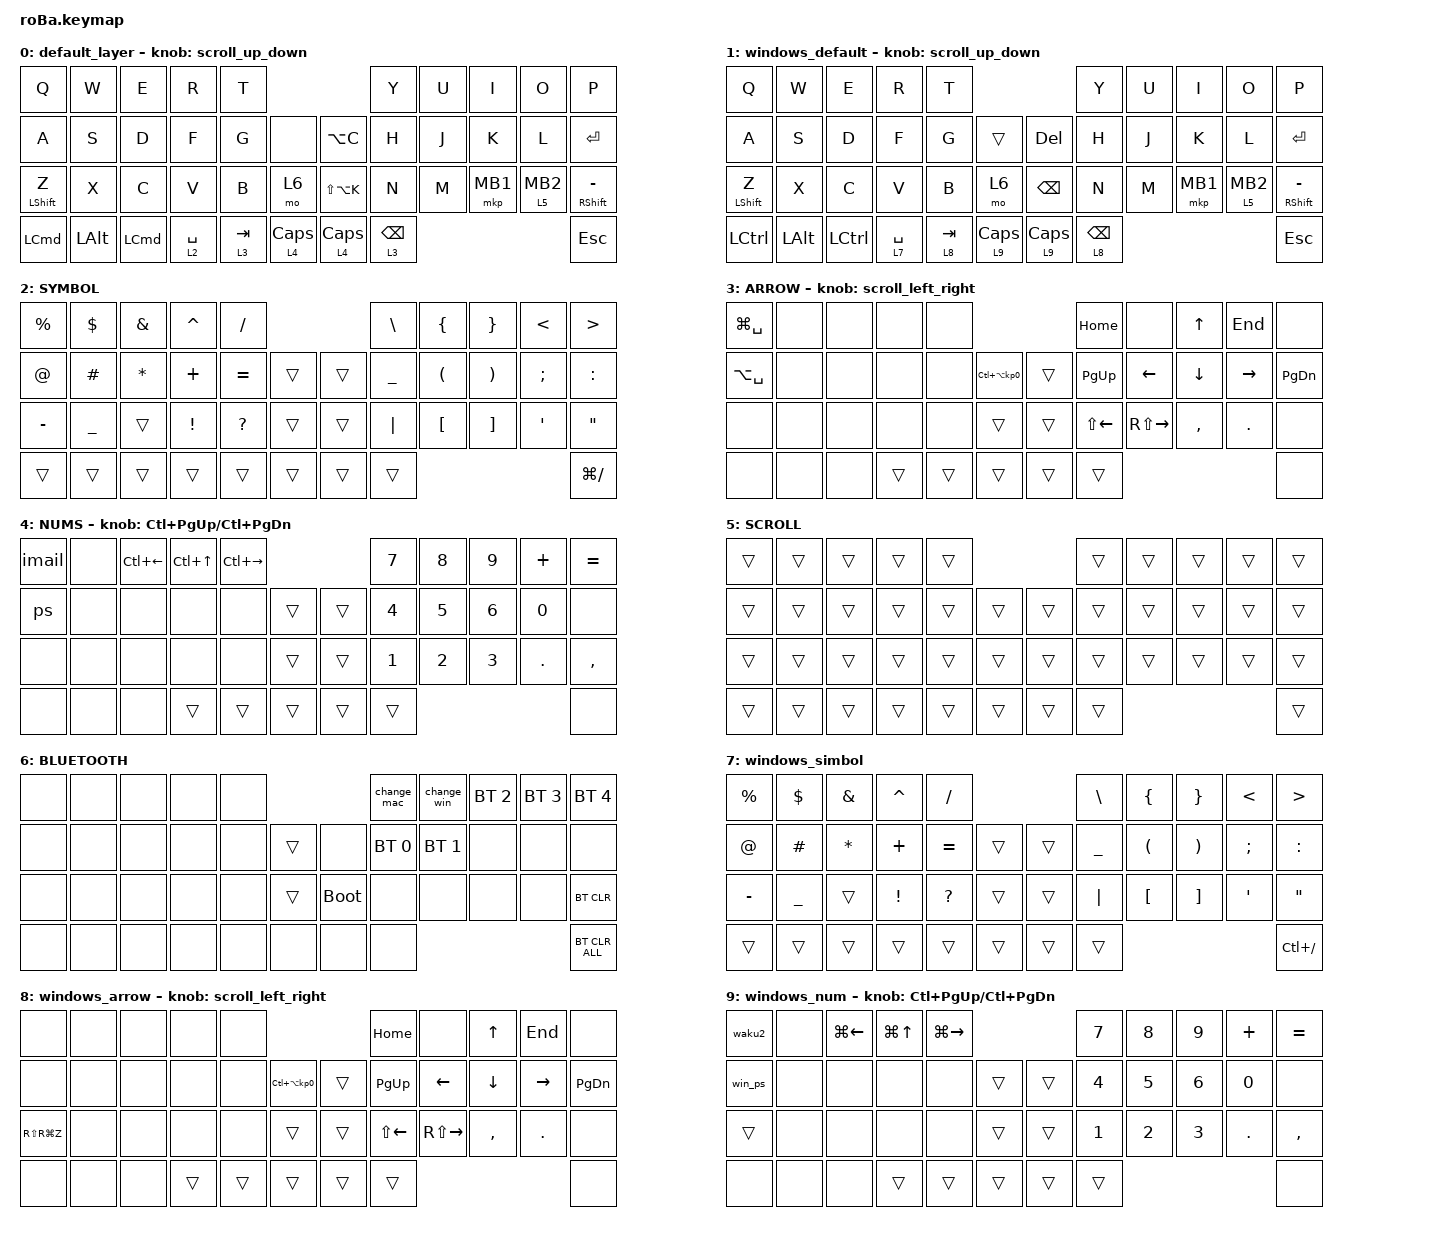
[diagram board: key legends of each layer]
#include <behaviors.dtsi>
#include <dt-bindings/zmk/bt.h>
#include <dt-bindings/zmk/keys.h>
#include <dt-bindings/zmk/pointing.h>

#define ZMK_POINTING_DEFAULT_SCRL_VAL 100
#define NUM 4
#define SCROLL 5

&mt {
    flavor = "balanced";
    quick-tap-ms = <0>;
};

/ {
    combos {
        compatible = "zmk,combos";

        tab {
            bindings = <&kp TAB>;
            key-positions = <11 12>;
        };

        shift_tab {
            bindings = <&kp LS(TAB)>;
            key-positions = <12 13>;
        };

        muhennkann {
            bindings = <&to_layer_0 INT_MUHENKAN>;
            key-positions = <11 10>;
        };

        double_quotation {
            bindings = <&kp DOUBLE_QUOTES>;
            key-positions = <20 21>;
        };

        eq {
            bindings = <&kp EQUAL>;
            key-positions = <24 25>;
        };
    };

    macros {
        to_layer_0: to_layer_0 {
            compatible = "zmk,behavior-macro-one-param";
            #binding-cells = <1>;
            bindings = <&to 0 &macro_param_1to1 &kp MACRO_PLACEHOLDER>;
            label = "TO_LAYER_0";
        };

        imail: imail {
            compatible = "zmk,behavior-macro";
            #binding-cells = <0>;
            bindings = <&none &kp I &kp N4 &kp M &kp O &kp AT &kp I &kp C &kp L &kp O &kp U &kp D &kp DOT &kp C &kp O &kp M>;
            label = "IMAIL";
        };

        ps: ps {
            compatible = "zmk,behavior-macro";
            #binding-cells = <0>;
            bindings = <&none &kp LS(I) &kp N4 &kp P &kp A &kp S &kp O &kp N2 &kp N9 &kp N9 &kp N1>;
            label = "PS";
        };

        waku2: waku2 {
            compatible = "zmk,behavior-macro";
            #binding-cells = <0>;
            bindings = <&none &kp S &kp H &kp I &kp N &kp Y &kp A &kp UNDER &kp I &kp S &kp H &kp I &kp Z &kp A &kp K &kp I &kp AT &kp W &kp A &kp K &kp U &kp MINUS &kp N2 &kp DOT &kp C &kp O &kp M>;
            label = "WAKU2";
        };

        win_ps: win_ps {
            compatible = "zmk,behavior-macro";
            #binding-cells = <0>;
            bindings = <&none &kp N9 &kp N0 &kp MINUS &kp LS(U) &kp LS(I) &kp LS(O) &kp LS(U) &kp LS(I) &kp LS(O)>;
            label = "WIN_PS";
        };

        change_mac: change_mac {
            compatible = "zmk,behavior-macro";
            #binding-cells = <0>;
            bindings = <&bt BT_SEL 0 &to 0>;
            label = "CHANGE_MAC";
        };

        change_win: change_win {
            compatible = "zmk,behavior-macro";
            #binding-cells = <0>;
            bindings = <&bt BT_SEL 1 &to 1>;
            label = "CHANGE_WIN";
        };
    };

    behaviors {
        scroll_up_down: behavior_sensor_rotate_mouse_wheel_up_down {
            compatible = "zmk,behavior-sensor-rotate";
            #sensor-binding-cells = <0>;
            bindings = <&msc SCRL_UP>, <&msc SCRL_DOWN>;

            tap-ms = <20>;
        };

        scroll_left_right: behavior_sensor_rotate_mouse_wheel_left_right {
            compatible = "zmk,behavior-sensor-rotate";
            #sensor-binding-cells = <0>;
            bindings = <&msc SCRL_LEFT>, <&msc SCRL_RIGHT>;

            tap-ms = <20>;
        };

        lt_to_layer_0: lt_to_layer_0 {
            compatible = "zmk,behavior-hold-tap";
            label = "LAYER_TAP_TO_0";
            bindings = <&mo>, <&to_layer_0>;

            #binding-cells = <2>;
            tapping-term-ms = <200>;
        };

        layer_mouse: layer_mouse {
            compatible = "zmk,behavior-hold-tap";
            label = "LAYER_MOUSE";
            bindings = <&mo>, <&mkp>;

            #binding-cells = <2>;
            tapping-term-ms = <200>;
        };
    };

    keymap {
        compatible = "zmk,keymap";

        default_layer {
            bindings = <
&kp Q             &kp W         &kp E             &kp R        &kp T                                     &kp Y            &kp U  &kp I     &kp O               &kp P
&kp A             &kp S         &kp D             &kp F        &kp G      &none           &kp LA(C)      &kp H            &kp J  &kp K     &kp L               &kp ENTER
&mt LEFT_SHIFT Z  &kp X         &kp C             &kp V        &kp B      &mo 6           &kp LS(LA(K))  &kp N            &kp M  &mkp MB1  &layer_mouse 5 MB2  &mt RIGHT_SHIFT MINUS
&kp LEFT_COMMAND  &kp LEFT_ALT  &kp LEFT_COMMAND  &lt 2 SPACE  &lt 3 TAB  &lt 4 CAPS      &lt 4 CAPS     &lt 3 BACKSPACE                                       &kp ESCAPE
            >;

            sensor-bindings = <&scroll_up_down>;
        };

        windows_default {
            bindings = <
&kp Q             &kp W         &kp E             &kp R        &kp T                                      &kp Y            &kp U  &kp I     &kp O               &kp P
&kp A             &kp S         &kp D             &kp F        &kp G      &trans          &kp DELETE      &kp H            &kp J  &kp K     &kp L               &kp ENTER
&mt LEFT_SHIFT Z  &kp X         &kp C             &kp V        &kp B      &mo 6           &kp BACKSPACE   &kp N            &kp M  &mkp MB1  &layer_mouse 5 MB2  &mt RIGHT_SHIFT MINUS
&kp LEFT_CONTROL  &kp LEFT_ALT  &kp LEFT_CONTROL  &lt 7 SPACE  &lt 8 TAB  &lt 9 CAPS      &lt 9 CAPSLOCK  &lt 8 BACKSPACE                                       &kp ESCAPE
            >;

            sensor-bindings = <&scroll_up_down>;
        };

        SYMBOL {
            bindings = <
&kp PRCNT  &kp DLLR   &kp AMPS  &kp CARET  &kp SLASH                      &kp BACKSLASH  &kp LBRC          &kp RBRC           &kp LT            &kp GT
&kp AT     &kp HASH   &kp STAR  &kp PLUS   &kp EQUAL  &trans      &trans  &kp UNDER      &kp LPAR          &kp RPAR           &kp SEMICOLON     &kp COLON
&kp MINUS  &kp UNDER  &trans    &kp EXCL   &kp QMARK  &trans      &trans  &kp PIPE       &kp LEFT_BRACKET  &kp RIGHT_BRACKET  &kp SINGLE_QUOTE  &kp DOUBLE_QUOTES
&trans     &trans     &trans    &trans     &trans     &trans      &trans  &trans                                                                &kp LG(SLASH)
            >;
        };

        ARROW {
            bindings = <
&kp LG(SPACE)  &none  &none  &none   &none                                        &kp HOME      &none                &kp UP_ARROW    &kp END          &none
&kp LA(SPACE)  &none  &none  &none   &none   &kp LC(LA(KP_NUMBER_0))      &trans  &kp PAGE_UP   &kp LEFT             &kp DOWN_ARROW  &kp RIGHT_ARROW  &kp PAGE_DOWN
&none          &none  &none  &none   &none   &trans                       &trans  &kp LS(LEFT)  &kp RS(RIGHT_ARROW)  &kp COMMA       &kp PERIOD       &none
&none          &none  &none  &trans  &trans  &trans                       &trans  &trans                                                              &none
            >;

            sensor-bindings = <&scroll_left_right>;
        };

        NUMS {
            bindings = <
&imail  &none  &kp LC(LEFT_ARROW)  &kp LC(UP_ARROW)  &kp LC(RIGHT_ARROW)                      &kp N7        &kp N8        &kp N9        &kp PLUS    &kp EQUAL
&ps     &none  &none               &none             &none                &trans      &trans  &kp NUMBER_4  &kp N5        &kp NUMBER_6  &kp N0      &none
&none   &none  &none               &none             &none                &trans      &trans  &kp NUMBER_1  &kp NUMBER_2  &kp NUMBER_3  &kp PERIOD  &kp COMMA
&none   &none  &none               &trans            &trans               &trans      &trans  &trans                                                &none
            >;

            sensor-bindings = <&inc_dec_kp LC(PAGE_UP) LC(PAGE_DOWN)>;
        };

        SCROLL {
            bindings = <
&trans  &trans  &trans  &trans  &trans                      &trans  &trans  &trans  &trans  &trans
&trans  &trans  &trans  &trans  &trans  &trans      &trans  &trans  &trans  &trans  &trans  &trans
&trans  &trans  &trans  &trans  &trans  &trans      &trans  &trans  &trans  &trans  &trans  &trans
&trans  &trans  &trans  &trans  &trans  &trans      &trans  &trans                          &trans
            >;
        };

        BLUETOOTH {
            bindings = <
&none  &none  &none  &none  &none                           &change_mac   &change_win   &bt BT_SEL 2  &bt BT_SEL 3  &bt BT_SEL 4
&none  &none  &none  &none  &none  &trans      &none        &bt BT_SEL 0  &bt BT_SEL 1  &none         &none         &none
&none  &none  &none  &none  &none  &trans      &bootloader  &none         &none         &none         &none         &bt BT_CLR
&none  &none  &none  &none  &none  &none       &none        &none                                                   &bt BT_CLR_ALL
            >;
        };

        windows_simbol {
            bindings = <
&kp PRCNT  &kp DLLR   &kp AMPS  &kp CARET  &kp SLASH                      &kp BACKSLASH  &kp LBRC          &kp RBRC           &kp LT            &kp GT
&kp AT     &kp HASH   &kp STAR  &kp PLUS   &kp EQUAL  &trans      &trans  &kp UNDER      &kp LPAR          &kp RPAR           &kp SEMICOLON     &kp COLON
&kp MINUS  &kp UNDER  &trans    &kp EXCL   &kp QMARK  &trans      &trans  &kp PIPE       &kp LEFT_BRACKET  &kp RIGHT_BRACKET  &kp SINGLE_QUOTE  &kp DOUBLE_QUOTES
&trans     &trans     &trans    &trans     &trans     &trans      &trans  &trans                                                                &kp LC(SLASH)
            >;
        };

        windows_arrow {
            bindings = <
&none          &none  &none  &none   &none                                        &kp HOME      &none                &kp UP_ARROW    &kp END          &none
&none          &none  &none  &none   &none   &kp LC(LA(KP_NUMBER_0))      &trans  &kp PAGE_UP   &kp LEFT             &kp DOWN_ARROW  &kp RIGHT_ARROW  &kp PAGE_DOWN
&kp RS(RG(Z))  &none  &none  &none   &none   &trans                       &trans  &kp LS(LEFT)  &kp RS(RIGHT_ARROW)  &kp COMMA       &kp PERIOD       &none
&none          &none  &none  &trans  &trans  &trans                       &trans  &trans                                                              &none
            >;

            sensor-bindings = <&scroll_left_right>;
        };

        windows_num {
            bindings = <
&waku2   &none  &kp LG(LEFT_ARROW)  &kp LG(UP_ARROW)  &kp LG(RIGHT_ARROW)                      &kp N7        &kp N8        &kp N9        &kp PLUS    &kp EQUAL
&win_ps  &none  &none               &none             &none                &trans      &trans  &kp NUMBER_4  &kp N5        &kp NUMBER_6  &kp N0      &none
&trans   &none  &none               &none             &none                &trans      &trans  &kp NUMBER_1  &kp NUMBER_2  &kp NUMBER_3  &kp PERIOD  &kp COMMA
&none    &none  &none               &trans            &trans               &trans      &trans  &trans                                                &none
            >;

            sensor-bindings = <&inc_dec_kp LC(PAGE_UP) LC(PAGE_DOWN)>;
        };
    };
};
